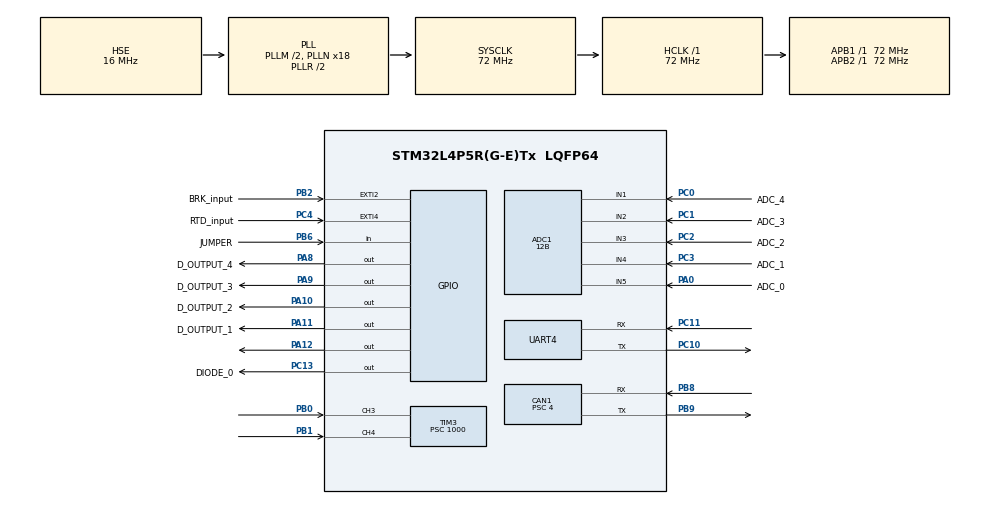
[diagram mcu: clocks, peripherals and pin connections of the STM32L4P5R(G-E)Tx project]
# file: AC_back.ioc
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Mcu.Family=STM32L4
NVIC.CAN1_RX1_IRQn=true\:0\:0\:false\:false\:true\:true\:true
RCC.CortexFreq_Value=72000000
ADC1.ContinuousConvMode=ENABLE
PH0-OSC_IN\ (PH0).Signal=RCC_OSC_IN
Dma.ADC1.0.Polarity=HAL_DMAMUX_REQ_GEN_RISING
SH.ADCx_IN2.0=ADC1_IN2,IN2-Single-Ended
PC10.Signal=UART4_TX
ADC1.OffsetNumber-4\#ChannelRegularConversion=ADC_OFFSET_NONE
PA0.GPIO_Label=ADC_0
PC0.GPIO_Label=ADC_4
PB6.GPIO_Label=JUMPER
PC13.GPIO_Label=DIODE_0
RCC.SYSCLKSource=RCC_SYSCLKSOURCE_PLLCLK
ProjectManager.StackSize=0x400
TIM3.Channel-Input_Capture3_from_TI3=TIM_CHANNEL_3
PA12.Signal=GPIO_Output
ADC1.Channel-3\#ChannelRegularConversion=ADC_CHANNEL_4
RCC.HCLKFreq_Value=72000000
SH.ADCx_IN3.0=ADC1_IN3,IN3-Single-Ended
ADC1.Resolution=ADC_RESOLUTION_12B
RCC.APB2TimFreq_Value=72000000
TIM3.Period=65535
PB6.Signal=GPIO_Input
Dma.ADC1.0.Direction=DMA_PERIPH_TO_MEMORY
ADC1.Channel-2\#ChannelRegularConversion=ADC_CHANNEL_3
TIM2.ClockDivision=TIM_CLOCKDIVISION_DIV1
PC3.Signal=ADCx_IN4
Dma.ADC1.0.MemDataAlignment=DMA_MDATAALIGN_HALFWORD
RCC.AHBFreq_Value=72000000
TIM3.ClockDivision=TIM_CLOCKDIVISION_DIV4
ADC1.Channel-0\#ChannelRegularConversion=ADC_CHANNEL_1
PH1-OSC_OUT\ (PH1).Mode=HSE-External-Oscillator
RCC.HSE_VALUE=16000000
PB2.Signal=GPXTI2
ADC1.SamplingTime-4\#ChannelRegularConversion=ADC_SAMPLETIME_640CYCLES_5
ADC1.Rank-2\#ChannelRegularConversion=3
PC4.GPIO_Label=RTD_input
TIM3.Prescaler=1000
Dma.ADC1.0.PeriphInc=DMA_PINC_DISABLE
NVIC.TIM2_IRQn=true\:0\:0\:false\:false\:true\:true\:true
PA10.GPIO_Label=D_OUTPUT_2
PC13.GPIO_PuPd=GPIO_PULLDOWN
PA8.Signal=GPIO_Output
ADC1.SamplingTime-0\#ChannelRegularConversion=ADC_SAMPLETIME_640CYCLES_5
PA0.Signal=ADCx_IN5
CAN1.Prescaler=4
PB9.Signal=CAN1_TX
Mcu.Package=LQFP64
TIM2.Prescaler=42
PB1.Signal=S_TIM3_CH4
ADC1.OversamplingMode=DISABLE
PA10.Signal=GPIO_Output
ADC1.OffsetNumber-1\#ChannelRegularConversion=ADC_OFFSET_NONE
PC11.Mode=Asynchronous
SH.ADCx_IN1.0=ADC1_IN1,IN1-Single-Ended
RCC.APB1TimFreq_Value=72000000
Dma.Request0=ADC1
CAN1.CalculateTimeBit=999.99
PH0-OSC_IN\ (PH0).Mode=HSE-External-Oscillator
PC2.GPIO_Label=ADC_2
ADC1.EOCSelection=ADC_EOC_SEQ_CONV
Dma.ADC1.0.EventEnable=DISABLE
RCC.HSI48_VALUE=48000000
ADC1.Rank-4\#ChannelRegularConversion=5
CAN1.CalculateTimeQuantum=55.55555555555556
NVIC.UART4_IRQn=true\:0\:0\:false\:false\:true\:true\:true
RCC.MSI_VALUE=4000000
RCC.PLLSourceVirtual=RCC_PLLSOURCE_HSE
Dma.ADC1.0.Instance=DMA1_Channel1
ADC1.Rank-0\#ChannelRegularConversion=1
ADC1.Channel-4\#ChannelRegularConversion=ADC_CHANNEL_5
TIM3.AutoReloadPreload=TIM_AUTORELOAD_PRELOAD_ENABLE
Dma.ADC1.0.SyncRequestNumber=1
ADC1.OffsetNumber-0\#ChannelRegularConversion=ADC_OFFSET_NONE
PA9.GPIO_Label=D_OUTPUT_3
PC13.Signal=GPIO_Output
PC11.Signal=UART4_RX
CAN1.CalculateBaudRate=1000000
ADC1.OffsetNumber-3\#ChannelRegularConversion=ADC_OFFSET_NONE
PC2.Signal=ADCx_IN3
PC4.Signal=GPXTI4
PC10.Mode=Asynchronous
PA11.GPIO_Label=D_OUTPUT_1
PC0.Signal=ADCx_IN1
SH.S_TIM3_CH3.0=TIM3_CH3,Input_Capture3_from_TI3
ADC1.SamplingTime-2\#ChannelRegularConversion=ADC_SAMPLETIME_640CYCLES_5
PH1-OSC_OUT\ (PH1).Signal=RCC_OSC_OUT
Dma.ADC1.0.PeriphDataAlignment=DMA_PDATAALIGN_HALFWORD
PA8.GPIO_Label=D_OUTPUT_4
CAN1.BS2=CAN_BS2_2TQ
CAN1.BS1=CAN_BS1_15TQ
ProjectManager.TargetToolchain=STM32CubeIDE
Dma.ADC1.0.Mode=DMA_CIRCULAR
Dma.ADC1.0.SignalID=NONE
Dma.ADC1.0.SyncSignalID=NONE
PB9.Mode=CAN_Activate
Dma.ADC1.0.Priority=DMA_PRIORITY_MEDIUM
PA9.Signal=GPIO_Output
ADC1.Channel-1\#ChannelRegularConversion=ADC_CHANNEL_2
RCC.USBFreq_Value=32000000
RCC.LSE_VALUE=32768
board=custom
RCC.VCOOutputFreq_Value=144000000
NVIC.TIM3_IRQn=true\:0\:0\:false\:false\:true\:true\:true
Dma.ADC1.0.SyncPolarity=HAL_DMAMUX_SYNC_NO_EVENT
RCC.APB2Freq_Value=72000000
VP_TIM2_VS_ClockSourceINT.Mode=Internal
RCC.ADCFreq_Value=32000000
PC1.GPIO_Label=ADC_3
SH.ADCx_IN4.0=ADC1_IN4,IN4-Single-Ended
TIM3.Channel-Input_Capture4_from_TI4=TIM_CHANNEL_4
ADC1.DMAContinuousRequests=ENABLE
TIM2.Period=7200
ADC1.NbrOfConversion=5
ADC1.OffsetNumber-2\#ChannelRegularConversion=ADC_OFFSET_NONE
Mcu.Name=STM32L4P5R(G-E)Tx
ADC1.SamplingTime-1\#ChannelRegularConversion=ADC_SAMPLETIME_640CYCLES_5
RCC.SYSCLKFreq_VALUE=72000000
RCC.PLLM2=2
RCC.PLLM1=2
ADC1.master=1
ADC1.Rank-3\#ChannelRegularConversion=4
ADC1.SamplingTime-3\#ChannelRegularConversion=ADC_SAMPLETIME_640CYCLES_5
ADC1.Rank-1\#ChannelRegularConversion=2
Dma.ADC1.0.RequestNumber=1
PA11.Signal=GPIO_Output
Dma.ADC1.0.SyncEnable=DISABLE
Dma.ADC1.0.MemInc=DMA_MINC_ENABLE
PB2.GPIO_Label=BRK_input
ProjectManager.HeapSize=0x200
RCC.HSI_VALUE=16000000
SH.ADCx_IN5.0=ADC1_IN5,IN5-Single-Ended
NVIC.PriorityGroup=NVIC_PRIORITYGROUP_4
ADC1.NbrOfConversionFlag=1
PB8.Mode=CAN_Activate
RCC.PLLN=18
PB8.Signal=CAN1_RX
TIM2.AutoReloadPreload=TIM_AUTORELOAD_PRELOAD_ENABLE
PC3.GPIO_Label=ADC_1
NVIC.DMA1_Channel1_IRQn=true\:0\:0\:false\:false\:true\:false\:true
RCC.APB1Freq_Value=72000000
PB0.Signal=S_TIM3_CH3
ADC1.ClockPrescaler=ADC_CLOCK_ASYNC_DIV2
PC1.Signal=ADCx_IN2
NVIC.CAN1_RX0_IRQn=true\:0\:0\:false\:false\:true\:true\:true
SH.S_TIM3_CH4.0=TIM3_CH4,Input_Capture4_from_TI4

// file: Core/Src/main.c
/* USER CODE BEGIN Header */
/**
 ******************************************************************************
 * @file           : main.c
 * @brief          : Main program body
 ******************************************************************************
 * @attention
 *
 * <h2><center>&copy; Copyright (c) 2021 STMicroelectronics.
 * All rights reserved.</center></h2>
 *
 * This software component is licensed by ST under BSD 3-Clause license,
 * the "License"; You may not use this file except in compliance with the
 * License. You may obtain a copy of the License at:
 *                        opensource.org/licenses/BSD-3-Clause
 *
 ******************************************************************************
 */
/* USER CODE END Header */
#include "main.h"

/* USER CODE BEGIN PD */
#define CARD_B_CAN_ID 0x60
#define CARD_B_CAN_DLC 8
#define CLOCK_FREQ 72000000
/* USER CODE END PD */

ADC_HandleTypeDef hadc1;
DMA_HandleTypeDef hdma_adc1;

CAN_HandleTypeDef hcan1;

TIM_HandleTypeDef htim2;
TIM_HandleTypeDef htim3;

UART_HandleTypeDef huart4;

/* USER CODE BEGIN PV */

CAN_RxHeaderTypeDef RxHeader_CAN1;
CAN_TxHeaderTypeDef tx_header_ac;
CAN_FilterTypeDef sFilterConfig;
uint8_t send_CAN_flag;
uint8_t send_CAN_20Hz_flag;
uint8_t send_Usart_flag;
uint8_t timer2_it_flag;
uint32_t mail_can_ac;
uint8_t ac_data[8] = { 0 };
uint8_t flag = 0;

uint8_t RxData_CAN1[8];

uint8_t speed_flag = 0;
uint32_t timer_val_1 = 0;
uint32_t timer_val_2 = 0;
uint32_t diff = 0;
uint16_t timer_OVC = 0;
uint32_t Freq = 0;

uint8_t speed_flag_ch3 = 0;
uint32_t timer_ch3_val_1 = 0;
uint32_t timer_ch3_val_2 = 0;
uint32_t diff_ch3 = 0;
uint16_t timer_ch3_OVC = 0;
uint32_t Freq_ch3 = 0;

uint8_t brk_flag = 0;

uint16_t c_count;			//count impulse from D_INPUT2_PIN
uint16_t cnt = 0;					// count timer2
uint8_t flaggg = 0;
uint16_t c_count_2;			//count impulse from D_INPUT3_PIN

uint8_t flag_2 = 0;
uint8_t data_send[18];

HAL_StatusTypeDef error_can_status;
CAN_FilterTypeDef sFilterConfig;
/* USER CODE END PV */

void SystemClock_Config(void);
static void MX_GPIO_Init(void);
static void MX_DMA_Init(void);
static void MX_CAN1_Init(void);
static void MX_ADC1_Init(void);
static void MX_UART4_Init(void);
static void MX_TIM2_Init(void);
static void MX_TIM3_Init(void);
/* USER CODE BEGIN PFP */
void CAN_Tx_Header_Init(void);
void CAN_filter_Init(void);
/* USER CODE END PFP */

int main(void)
{

  /* MCU Configuration--------------------------------------------------------*/

  /* Reset of all peripherals, Initializes the Flash interface and the Systick. */
  HAL_Init();

  /* Configure the system clock */
  SystemClock_Config();

  /* Initialize all configured peripherals */
  MX_GPIO_Init();
  MX_DMA_Init();
  MX_CAN1_Init();
  MX_ADC1_Init();
  MX_UART4_Init();
  MX_TIM2_Init();
  MX_TIM3_Init();
  /* USER CODE BEGIN 2 */
	CAN_Tx_Header_Init();
	CAN_filter_Init();
  HAL_CAN_ActivateNotification(&hcan1, CAN_IT_RX_FIFO0_MSG_PENDING);
	HAL_TIM_Base_Start_IT(&htim2);
	HAL_TIM_IC_Start_IT(&htim3, TIM_CHANNEL_4);
	HAL_TIM_IC_Start_IT(&htim3, TIM_CHANNEL_3);

	uint16_t send_CAN_cnt_a = 0;
	uint16_t send_CAN20Hz_cnt = 0;
  /* USER CODE END 2 */

  /* Infinite loop */
  /* USER CODE BEGIN WHILE */
	while (1) {

		brk_flag = 0;
		if(brk_flag)
		{
			HAL_GPIO_WritePin(D_OUTPUT_3_GPIO_Port, D_OUTPUT_3_Pin, SET);
		}
		else
		{
			HAL_GPIO_WritePin(D_OUTPUT_3_GPIO_Port, D_OUTPUT_3_Pin, RESET);
		}

		if (send_CAN_flag) {

			int16_t val_0 = Freq;
			//	ac_data[1] = (int8_t) (val_0 & 0x00FF);
			//ac_data[2] = (int8_t) (val_0 >> 8);
			int16_t val_1 = Freq_ch3;
			//ac_data[3] = (int8_t) (val_1 & 0x00FF);
			//	ac_data[4] = (int8_t) (val_1 >> 8);
			ac_data[0] = 0;

			ac_data[5] = 0;
			ac_data[6] = 0;
			ac_data[7] = 0;

			if (HAL_CAN_AddTxMessage(&hcan1, &tx_header_ac, ac_data,
					&mail_can_ac) != HAL_OK) {
				error_can_status = HAL_CAN_AddTxMessage(&hcan1, &tx_header_ac,
						ac_data, &mail_can_ac);
				//ERROR
				Error_Handler();
			}
			while (HAL_CAN_IsTxMessagePending(&hcan1, mail_can_ac))
				;
			//	while (HAL_CAN_IsTxMessagePending(&hcan1, mail_can_ac));
			send_CAN_flag = 0;
		}

		if (send_CAN_20Hz_flag) {
//
		}

		if (timer2_it_flag) {

			//cnt++;

			send_CAN_cnt_a++;
			send_CAN20Hz_cnt++;

			if (send_CAN_cnt_a > 10) {
				send_CAN_flag = 1;
				send_CAN_cnt_a = 0;
			}
			if (send_CAN20Hz_cnt > 50) {
				send_CAN_20Hz_flag = 1;
				send_CAN20Hz_cnt = 0;
			}
			timer2_it_flag = 0;
		}
		//HAL_GPIO_WritePin(D_OUTPUT_3_GPIO_Port, D_OUTPUT_3_Pin, SET);
    /* USER CODE END WHILE */

	}
}

void SystemClock_Config(void)
{
  RCC_OscInitTypeDef RCC_OscInitStruct = {0};
  RCC_ClkInitTypeDef RCC_ClkInitStruct = {0};
  RCC_PeriphCLKInitTypeDef PeriphClkInit = {0};

  /** Configure the main internal regulator output voltage
  */
  if (HAL_PWREx_ControlVoltageScaling(PWR_REGULATOR_VOLTAGE_SCALE1) != HAL_OK)
  {
    Error_Handler();
  }
  /** Initializes the RCC Oscillators according to the specified parameters
  * in the RCC_OscInitTypeDef structure.
  */
  RCC_OscInitStruct.OscillatorType = RCC_OSCILLATORTYPE_HSE;
  RCC_OscInitStruct.HSEState = RCC_HSE_ON;
  RCC_OscInitStruct.PLL.PLLState = RCC_PLL_ON;
  RCC_OscInitStruct.PLL.PLLSource = RCC_PLLSOURCE_HSE;
  RCC_OscInitStruct.PLL.PLLM = 2;
  RCC_OscInitStruct.PLL.PLLN = 18;
  RCC_OscInitStruct.PLL.PLLP = RCC_PLLP_DIV2;
  RCC_OscInitStruct.PLL.PLLQ = RCC_PLLQ_DIV2;
  RCC_OscInitStruct.PLL.PLLR = RCC_PLLR_DIV2;
  if (HAL_RCC_OscConfig(&RCC_OscInitStruct) != HAL_OK)
  {
    Error_Handler();
  }
  /** Initializes the CPU, AHB and APB buses clocks
  */
  RCC_ClkInitStruct.ClockType = RCC_CLOCKTYPE_HCLK|RCC_CLOCKTYPE_SYSCLK
                              |RCC_CLOCKTYPE_PCLK1|RCC_CLOCKTYPE_PCLK2;
  RCC_ClkInitStruct.SYSCLKSource = RCC_SYSCLKSOURCE_PLLCLK;
  RCC_ClkInitStruct.AHBCLKDivider = RCC_SYSCLK_DIV1;
  RCC_ClkInitStruct.APB1CLKDivider = RCC_HCLK_DIV1;
  RCC_ClkInitStruct.APB2CLKDivider = RCC_HCLK_DIV1;

  if (HAL_RCC_ClockConfig(&RCC_ClkInitStruct, FLASH_LATENCY_3) != HAL_OK)
  {
    Error_Handler();
  }
  PeriphClkInit.PeriphClockSelection = RCC_PERIPHCLK_UART4|RCC_PERIPHCLK_ADC;
  PeriphClkInit.Uart4ClockSelection = RCC_UART4CLKSOURCE_PCLK1;
  PeriphClkInit.AdcClockSelection = RCC_ADCCLKSOURCE_PLLSAI1;
  PeriphClkInit.PLLSAI1.PLLSAI1Source = RCC_PLLSOURCE_HSE;
  PeriphClkInit.PLLSAI1.PLLSAI1M = 2;
  PeriphClkInit.PLLSAI1.PLLSAI1N = 8;
  PeriphClkInit.PLLSAI1.PLLSAI1P = RCC_PLLP_DIV2;
  PeriphClkInit.PLLSAI1.PLLSAI1Q = RCC_PLLQ_DIV2;
  PeriphClkInit.PLLSAI1.PLLSAI1R = RCC_PLLR_DIV2;
  PeriphClkInit.PLLSAI1.PLLSAI1ClockOut = RCC_PLLSAI1_ADC1CLK;
  if (HAL_RCCEx_PeriphCLKConfig(&PeriphClkInit) != HAL_OK)
  {
    Error_Handler();
  }
}

static void MX_ADC1_Init(void)
{

  ADC_MultiModeTypeDef multimode = {0};
  ADC_ChannelConfTypeDef sConfig = {0};

  /** Common config
  */
  hadc1.Instance = ADC1;
  hadc1.Init.ClockPrescaler = ADC_CLOCK_ASYNC_DIV2;
  hadc1.Init.Resolution = ADC_RESOLUTION_12B;
  hadc1.Init.DataAlign = ADC_DATAALIGN_RIGHT;
  hadc1.Init.ScanConvMode = ADC_SCAN_ENABLE;
  hadc1.Init.EOCSelection = ADC_EOC_SEQ_CONV;
  hadc1.Init.LowPowerAutoWait = DISABLE;
  hadc1.Init.ContinuousConvMode = ENABLE;
  hadc1.Init.NbrOfConversion = 5;
  hadc1.Init.DiscontinuousConvMode = DISABLE;
  hadc1.Init.ExternalTrigConv = ADC_SOFTWARE_START;
  hadc1.Init.ExternalTrigConvEdge = ADC_EXTERNALTRIGCONVEDGE_NONE;
  hadc1.Init.DMAContinuousRequests = ENABLE;
  hadc1.Init.Overrun = ADC_OVR_DATA_PRESERVED;
  hadc1.Init.OversamplingMode = DISABLE;
  if (HAL_ADC_Init(&hadc1) != HAL_OK)
  {
    Error_Handler();
  }
  /** Configure the ADC multi-mode
  */
  multimode.Mode = ADC_MODE_INDEPENDENT;
  if (HAL_ADCEx_MultiModeConfigChannel(&hadc1, &multimode) != HAL_OK)
  {
    Error_Handler();
  }
  /** Configure Regular Channel
  */
  sConfig.Channel = ADC_CHANNEL_1;
  sConfig.Rank = ADC_REGULAR_RANK_1;
  sConfig.SamplingTime = ADC_SAMPLETIME_640CYCLES_5;
  sConfig.SingleDiff = ADC_SINGLE_ENDED;
  sConfig.OffsetNumber = ADC_OFFSET_NONE;
  sConfig.Offset = 0;
  if (HAL_ADC_ConfigChannel(&hadc1, &sConfig) != HAL_OK)
  {
    Error_Handler();
  }
  /** Configure Regular Channel
  */
  sConfig.Channel = ADC_CHANNEL_2;
  sConfig.Rank = ADC_REGULAR_RANK_2;
  if (HAL_ADC_ConfigChannel(&hadc1, &sConfig) != HAL_OK)
  {
    Error_Handler();
  }
  /** Configure Regular Channel
  */
  sConfig.Channel = ADC_CHANNEL_3;
  sConfig.Rank = ADC_REGULAR_RANK_3;
  if (HAL_ADC_ConfigChannel(&hadc1, &sConfig) != HAL_OK)
  {
    Error_Handler();
  }
  /** Configure Regular Channel
  */
  sConfig.Channel = ADC_CHANNEL_4;
  sConfig.Rank = ADC_REGULAR_RANK_4;
  if (HAL_ADC_ConfigChannel(&hadc1, &sConfig) != HAL_OK)
  {
    Error_Handler();
  }
  /** Configure Regular Channel
  */
  sConfig.Channel = ADC_CHANNEL_5;
  sConfig.Rank = ADC_REGULAR_RANK_5;
  if (HAL_ADC_ConfigChannel(&hadc1, &sConfig) != HAL_OK)
  {
    Error_Handler();
  }

}

static void MX_CAN1_Init(void)
{

  hcan1.Instance = CAN1;
  hcan1.Init.Prescaler = 4;
  hcan1.Init.Mode = CAN_MODE_NORMAL;
  hcan1.Init.SyncJumpWidth = CAN_SJW_1TQ;
  hcan1.Init.TimeSeg1 = CAN_BS1_15TQ;
  hcan1.Init.TimeSeg2 = CAN_BS2_2TQ;
  hcan1.Init.TimeTriggeredMode = DISABLE;
  hcan1.Init.AutoBusOff = DISABLE;
  hcan1.Init.AutoWakeUp = DISABLE;
  hcan1.Init.AutoRetransmission = DISABLE;
  hcan1.Init.ReceiveFifoLocked = DISABLE;
  hcan1.Init.TransmitFifoPriority = DISABLE;
  if (HAL_CAN_Init(&hcan1) != HAL_OK)
  {
    Error_Handler();
  }

}

static void MX_TIM2_Init(void)
{

  TIM_ClockConfigTypeDef sClockSourceConfig = {0};
  TIM_MasterConfigTypeDef sMasterConfig = {0};

  htim2.Instance = TIM2;
  htim2.Init.Prescaler = 42;
  htim2.Init.CounterMode = TIM_COUNTERMODE_UP;
  htim2.Init.Period = 7200;
  htim2.Init.ClockDivision = TIM_CLOCKDIVISION_DIV1;
  htim2.Init.AutoReloadPreload = TIM_AUTORELOAD_PRELOAD_ENABLE;
  if (HAL_TIM_Base_Init(&htim2) != HAL_OK)
  {
    Error_Handler();
  }
  sClockSourceConfig.ClockSource = TIM_CLOCKSOURCE_INTERNAL;
  if (HAL_TIM_ConfigClockSource(&htim2, &sClockSourceConfig) != HAL_OK)
  {
    Error_Handler();
  }
  sMasterConfig.MasterOutputTrigger = TIM_TRGO_RESET;
  sMasterConfig.MasterSlaveMode = TIM_MASTERSLAVEMODE_DISABLE;
  if (HAL_TIMEx_MasterConfigSynchronization(&htim2, &sMasterConfig) != HAL_OK)
  {
    Error_Handler();
  }

}

static void MX_TIM3_Init(void)
{

  TIM_MasterConfigTypeDef sMasterConfig = {0};
  TIM_IC_InitTypeDef sConfigIC = {0};

  htim3.Instance = TIM3;
  htim3.Init.Prescaler = 1000;
  htim3.Init.CounterMode = TIM_COUNTERMODE_UP;
  htim3.Init.Period = 65535;
  htim3.Init.ClockDivision = TIM_CLOCKDIVISION_DIV4;
  htim3.Init.AutoReloadPreload = TIM_AUTORELOAD_PRELOAD_ENABLE;
  if (HAL_TIM_IC_Init(&htim3) != HAL_OK)
  {
    Error_Handler();
  }
  sMasterConfig.MasterOutputTrigger = TIM_TRGO_RESET;
  sMasterConfig.MasterSlaveMode = TIM_MASTERSLAVEMODE_DISABLE;
  if (HAL_TIMEx_MasterConfigSynchronization(&htim3, &sMasterConfig) != HAL_OK)
  {
    Error_Handler();
  }
  sConfigIC.ICPolarity = TIM_INPUTCHANNELPOLARITY_RISING;
  sConfigIC.ICSelection = TIM_ICSELECTION_DIRECTTI;
  sConfigIC.ICPrescaler = TIM_ICPSC_DIV1;
  sConfigIC.ICFilter = 0;
  if (HAL_TIM_IC_ConfigChannel(&htim3, &sConfigIC, TIM_CHANNEL_3) != HAL_OK)
  {
    Error_Handler();
  }
  if (HAL_TIM_IC_ConfigChannel(&htim3, &sConfigIC, TIM_CHANNEL_4) != HAL_OK)
  {
    Error_Handler();
  }

}

static void MX_UART4_Init(void)
{

  huart4.Instance = UART4;
  huart4.Init.BaudRate = 115200;
  huart4.Init.WordLength = UART_WORDLENGTH_8B;
  huart4.Init.StopBits = UART_STOPBITS_1;
  huart4.Init.Parity = UART_PARITY_NONE;
  huart4.Init.Mode = UART_MODE_TX_RX;
  huart4.Init.HwFlowCtl = UART_HWCONTROL_NONE;
  huart4.Init.OverSampling = UART_OVERSAMPLING_16;
  huart4.Init.OneBitSampling = UART_ONE_BIT_SAMPLE_DISABLE;
  huart4.Init.ClockPrescaler = UART_PRESCALER_DIV1;
  huart4.AdvancedInit.AdvFeatureInit = UART_ADVFEATURE_NO_INIT;
  if (HAL_UART_Init(&huart4) != HAL_OK)
  {
    Error_Handler();
  }
  if (HAL_UARTEx_SetTxFifoThreshold(&huart4, UART_TXFIFO_THRESHOLD_1_8) != HAL_OK)
  {
    Error_Handler();
  }
  if (HAL_UARTEx_SetRxFifoThreshold(&huart4, UART_RXFIFO_THRESHOLD_1_8) != HAL_OK)
  {
    Error_Handler();
  }
  if (HAL_UARTEx_DisableFifoMode(&huart4) != HAL_OK)
  {
    Error_Handler();
  }

}

static void MX_DMA_Init(void)
{

  /* DMA controller clock enable */
  __HAL_RCC_DMAMUX1_CLK_ENABLE();
  __HAL_RCC_DMA1_CLK_ENABLE();

  /* DMA interrupt init */
  /* DMA1_Channel1_IRQn interrupt configuration */
  HAL_NVIC_SetPriority(DMA1_Channel1_IRQn, 0, 0);
  HAL_NVIC_EnableIRQ(DMA1_Channel1_IRQn);

}

static void MX_GPIO_Init(void)
{
  GPIO_InitTypeDef GPIO_InitStruct = {0};

  /* GPIO Ports Clock Enable */
  __HAL_RCC_GPIOC_CLK_ENABLE();
  __HAL_RCC_GPIOH_CLK_ENABLE();
  __HAL_RCC_GPIOA_CLK_ENABLE();
  __HAL_RCC_GPIOB_CLK_ENABLE();

  /*Configure GPIO pin Output Level */
  HAL_GPIO_WritePin(DIODE_0_GPIO_Port, DIODE_0_Pin, GPIO_PIN_RESET);

  /*Configure GPIO pin Output Level */
  HAL_GPIO_WritePin(GPIOA, D_OUTPUT_4_Pin|D_OUTPUT_3_Pin|D_OUTPUT_2_Pin|D_OUTPUT_1_Pin
                          |GPIO_PIN_12, GPIO_PIN_RESET);

  /*Configure GPIO pin : DIODE_0_Pin */
  GPIO_InitStruct.Pin = DIODE_0_Pin;
  GPIO_InitStruct.Mode = GPIO_MODE_OUTPUT_PP;
  GPIO_InitStruct.Pull = GPIO_PULLDOWN;
  GPIO_InitStruct.Speed = GPIO_SPEED_FREQ_LOW;
  HAL_GPIO_Init(DIODE_0_GPIO_Port, &GPIO_InitStruct);

  /*Configure GPIO pin : RTD_input_Pin */
  GPIO_InitStruct.Pin = RTD_input_Pin;
  GPIO_InitStruct.Mode = GPIO_MODE_IT_RISING;
  GPIO_InitStruct.Pull = GPIO_NOPULL;
  HAL_GPIO_Init(RTD_input_GPIO_Port, &GPIO_InitStruct);

  /*Configure GPIO pin : BRK_input_Pin */
  GPIO_InitStruct.Pin = BRK_input_Pin;
  GPIO_InitStruct.Mode = GPIO_MODE_IT_RISING;
  GPIO_InitStruct.Pull = GPIO_NOPULL;
  HAL_GPIO_Init(BRK_input_GPIO_Port, &GPIO_InitStruct);

  /*Configure GPIO pins : D_OUTPUT_4_Pin D_OUTPUT_3_Pin D_OUTPUT_2_Pin D_OUTPUT_1_Pin
                           PA12 */
  GPIO_InitStruct.Pin = D_OUTPUT_4_Pin|D_OUTPUT_3_Pin|D_OUTPUT_2_Pin|D_OUTPUT_1_Pin
                          |GPIO_PIN_12;
  GPIO_InitStruct.Mode = GPIO_MODE_OUTPUT_PP;
  GPIO_InitStruct.Pull = GPIO_NOPULL;
  GPIO_InitStruct.Speed = GPIO_SPEED_FREQ_LOW;
  HAL_GPIO_Init(GPIOA, &GPIO_InitStruct);

  /*Configure GPIO pin : JUMPER_Pin */
  GPIO_InitStruct.Pin = JUMPER_Pin;
  GPIO_InitStruct.Mode = GPIO_MODE_INPUT;
  GPIO_InitStruct.Pull = GPIO_NOPULL;
  HAL_GPIO_Init(JUMPER_GPIO_Port, &GPIO_InitStruct);

}

/* USER CODE BEGIN 4 */
void HAL_TIM_PeriodElapsedCallback(TIM_HandleTypeDef *htim) {
	if (htim->Instance == TIM2) {
		timer2_it_flag = 1;
	}
}

void HAL_GPIO_EXTI_Callback(uint16_t GPIO_Pin) {

}

void HAL_TIM_IC_CaptureCallback(TIM_HandleTypeDef *htim) {
	if (htim->Channel == HAL_TIM_ACTIVE_CHANNEL_4) {
		if (!speed_flag) {
			timer_val_1 = HAL_TIM_ReadCapturedValue(&htim3, TIM_CHANNEL_4);
			speed_flag = 1;
		} else if (speed_flag) {
			timer_val_2 = HAL_TIM_ReadCapturedValue(&htim3, TIM_CHANNEL_4);

			if (timer_val_2 > timer_val_1) {
				diff = timer_val_2 - timer_val_1;
			} else if (timer_val_1 > timer_val_2) {
				diff = ((0xffff - timer_val_1) + timer_val_2) + 1;
			} else {
				Error_Handler();
			}
			Freq = (HAL_RCC_GetPCLK1Freq() / diff) / 2000;
			speed_flag = 0;
		}
	}
	if (htim->Channel == HAL_TIM_ACTIVE_CHANNEL_3) {
		if (!speed_flag_ch3) {
			timer_ch3_val_1 = HAL_TIM_ReadCapturedValue(&htim3, TIM_CHANNEL_3);
			speed_flag_ch3 = 1;
		} else if (speed_flag_ch3) {
			timer_ch3_val_2 = HAL_TIM_ReadCapturedValue(&htim3,
			TIM_CHANNEL_3);

			if (timer_ch3_val_2 > timer_ch3_val_1) {
				diff_ch3 = timer_ch3_val_2 - timer_ch3_val_1;
			} else if (timer_ch3_val_1 > timer_ch3_val_2) {
				diff_ch3 = ((0xffff - timer_ch3_val_1) + timer_ch3_val_2) + 1;
			} else {
				Error_Handler();
			}
			Freq_ch3 = (HAL_RCC_GetPCLK1Freq() / diff_ch3) / 2000;
			speed_flag_ch3 = 0;
		}
	}
}

void CAN_filter_Init(void) {

	sFilterConfig.FilterBank = 0;
	sFilterConfig.FilterMode = CAN_FILTERMODE_IDMASK;
	sFilterConfig.FilterScale = CAN_FILTERSCALE_32BIT;
	sFilterConfig.FilterIdHigh = 0x0000;
	sFilterConfig.FilterIdLow = 0x0000;
	sFilterConfig.FilterMaskIdHigh = 0x0000;
	sFilterConfig.FilterMaskIdLow = 0x0000;
	sFilterConfig.FilterFIFOAssignment = CAN_RX_FIFO0;
	sFilterConfig.FilterActivation = ENABLE;
	sFilterConfig.SlaveStartFilterBank = 14;

	if (HAL_CAN_ConfigFilter(&hcan1, &sFilterConfig) != HAL_OK) {
		Error_Handler();
	}
	if (HAL_CAN_Start(&hcan1) != HAL_OK) {
		Error_Handler();
	}
	if (HAL_CAN_ActivateNotification(&hcan1,
	CAN_IT_RX_FIFO0_MSG_PENDING | CAN_IT_TX_MAILBOX_EMPTY) != HAL_OK) {
		Error_Handler();
	}

}

void CAN_Tx_Header_Init(void) {
	tx_header_ac.StdId = CARD_B_CAN_ID;
	tx_header_ac.RTR = CAN_RTR_DATA;
	tx_header_ac.IDE = CAN_ID_STD;
	tx_header_ac.DLC = CARD_B_CAN_DLC;
	tx_header_ac.TransmitGlobalTime = DISABLE;
}

/* USER CODE END 4 */

void Error_Handler(void)
{
	__disable_irq();
	while (1) {
	}
}

/************************ (C) COPYRIGHT STMicroelectronics *****END OF FILE****/
